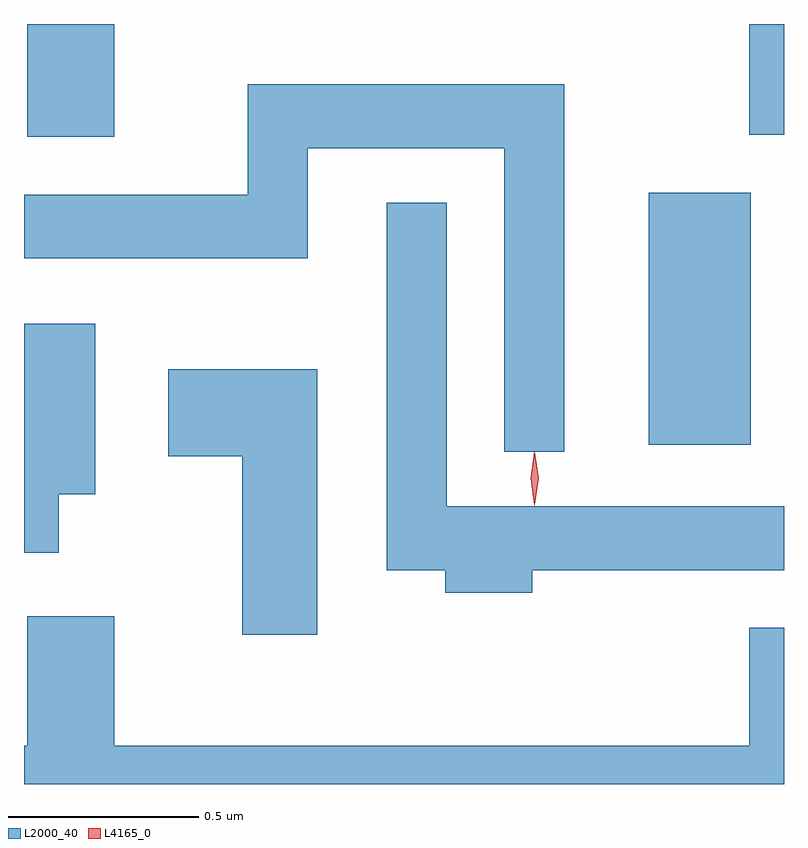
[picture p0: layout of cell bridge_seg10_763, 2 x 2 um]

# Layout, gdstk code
import gdstk
lib = gdstk.Library(unit=1e-6, precision=1e-09)
def R(c, l, rs):  # rectangles x0, y0, x1, y1
    for r in rs: c.add(gdstk.rectangle(r[:2], r[2:], *l))
def P(c, l, *ps):  # polygons
    for p in ps: c.add(gdstk.Polygon(p, *l))
L2000_40 = (2000, 40)
L4165_0 = (4165, 0)

bridge_seg10_763 = lib.new_cell('bridge_seg10_763')
R(bridge_seg10_763, L2000_40, [(1031.846,2108.316,1032.114,2108.979), (1030.211,2109.126,1030.439,2109.423), (1032.111,2109.131,1032.202,2109.423)])
P(bridge_seg10_763, L2000_40, [(1031.624,2109.264),(1030.791,2109.264),(1030.791,2108.974),(1030.202,2108.974),(1030.202,2108.806),(1030.949,2108.806),(1030.949,2109.096),(1031.466,2109.096),(1031.466,2108.298),(1031.624,2108.298)],
  [(1031.539,2107.986),(1032.202,2107.986),(1032.202,2108.154),(1031.314,2108.154),(1031.314,2108.953),(1031.156,2108.953),(1031.156,2107.986),(1031.311,2107.986),(1031.311,2107.926),(1031.539,2107.926)],
  [(1030.294,2108.186),(1030.389,2108.186),(1030.389,2108.634),(1030.202,2108.634),(1030.202,2108.031),(1030.294,2108.031)],
  [(1030.974,2108.514),(1030.581,2108.514),(1030.581,2108.286),(1030.776,2108.286),(1030.776,2107.816),(1030.974,2107.816)],
  [(1032.202,2107.834),(1032.111,2107.834),(1032.111,2107.524),(1030.439,2107.524),(1030.439,2107.864),(1030.211,2107.864),(1030.211,2107.524),(1030.202,2107.524),(1030.202,2107.423),(1032.202,2107.423)])
P(bridge_seg10_763, L4165_0, [(1031.546,2108.157),(1031.545,2108.158),(1031.536,2108.227),(1031.545,2108.296),(1031.546,2108.296),(1031.546,2108.296),(1031.556,2108.227),(1031.546,2108.158)])

lib.write_gds('bridge_seg10_763.gds')
